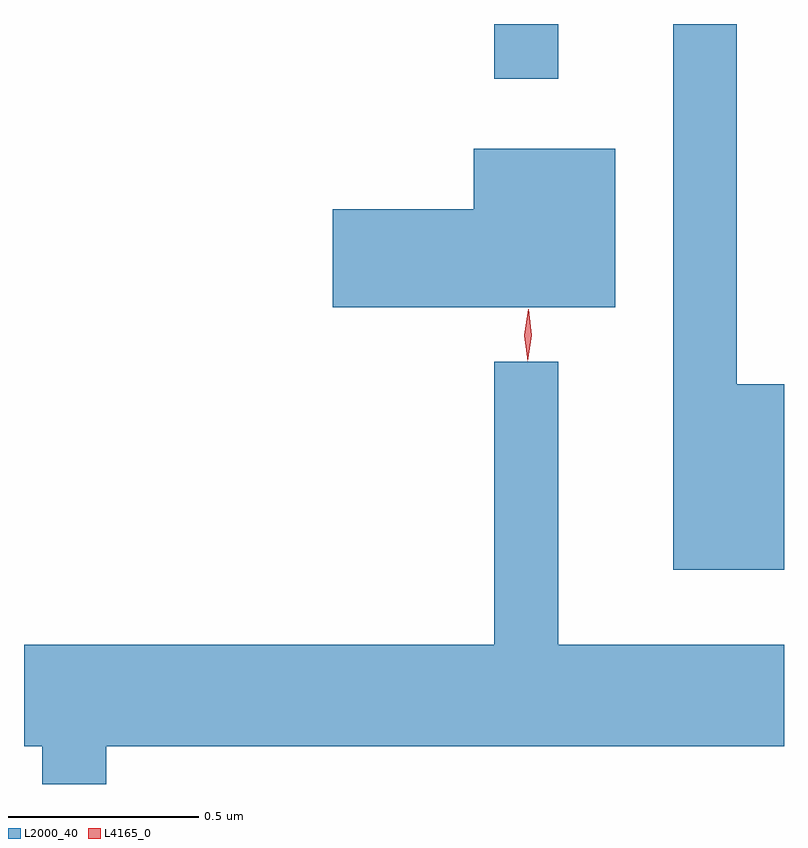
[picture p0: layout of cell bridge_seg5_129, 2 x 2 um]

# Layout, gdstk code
import gdstk
lib = gdstk.Library(unit=1e-6, precision=1e-09)
def R(c, l, rs):  # rectangles x0, y0, x1, y1
    for r in rs: c.add(gdstk.rectangle(r[:2], r[2:], *l))
def P(c, l, *ps):  # polygons
    for p in ps: c.add(gdstk.Polygon(p, *l))
L2000_40 = (2000, 40)
L4165_0 = (4165, 0)

bridge_seg5_129 = lib.new_cell('bridge_seg5_129')
R(bridge_seg5_129, L2000_40, [(1021.951,1485.193,1022.119,1485.337)])
P(bridge_seg5_129, L2000_40, [(1022.713,1484.389),(1022.589,1484.389),(1022.589,1485.337),(1022.421,1485.337),(1022.421,1483.901),(1022.713,1483.901)],
  [(1022.269,1485.009),(1021.896,1485.009),(1021.896,1484.849),(1021.526,1484.849),(1021.526,1484.591),(1022.269,1484.591)],
  [(1020.929,1483.436),(1022.713,1483.436),(1022.713,1483.704),(1022.119,1483.704),(1022.119,1484.448),(1021.951,1484.448),(1021.951,1483.704),(1020.713,1483.704),(1020.713,1483.436),(1020.761,1483.436),(1020.761,1483.337),(1020.929,1483.337)])
P(bridge_seg5_129, L4165_0, [(1022.038,1484.45),(1022.029,1484.518),(1022.04,1484.586),(1022.04,1484.586),(1022.041,1484.586),(1022.049,1484.518),(1022.039,1484.45),(1022.039,1484.45)],
  [(1022.039,1484.453),(1022.038,1484.454),(1022.029,1484.516),(1022.038,1484.579),(1022.039,1484.58),(1022.039,1484.579),(1022.049,1484.516),(1022.039,1484.454)])

lib.write_gds('bridge_seg5_129.gds')
